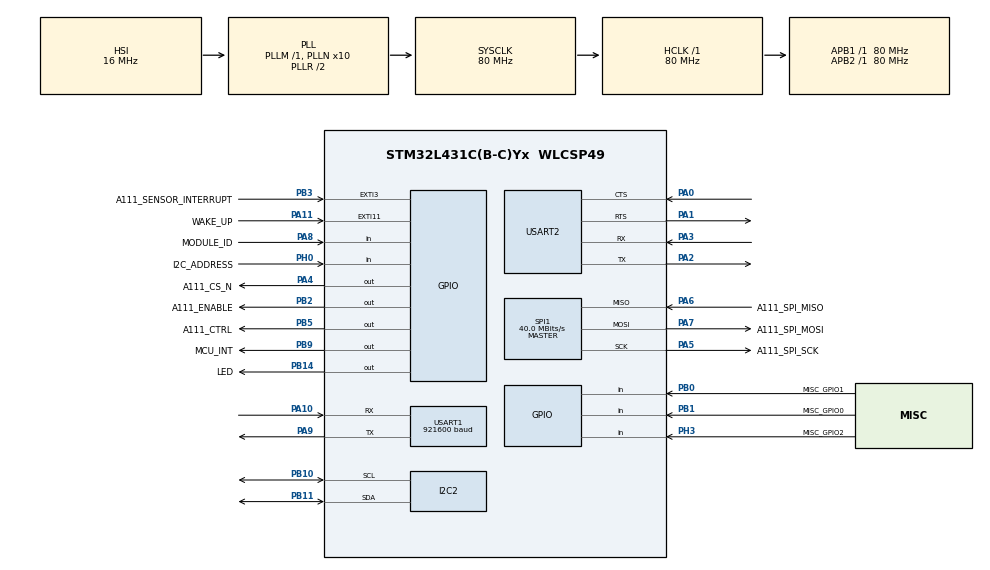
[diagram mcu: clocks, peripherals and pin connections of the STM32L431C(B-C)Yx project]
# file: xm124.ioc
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Dma.Request0=USART2_RX
Dma.Request1=USART2_TX
Dma.Request2=SPI1_RX
Dma.Request3=SPI1_TX
Dma.SPI1_RX.2.Direction=DMA_PERIPH_TO_MEMORY
Dma.SPI1_RX.2.Instance=DMA1_Channel2
Dma.SPI1_RX.2.MemDataAlignment=DMA_MDATAALIGN_HALFWORD
Dma.SPI1_RX.2.MemInc=DMA_MINC_ENABLE
Dma.SPI1_RX.2.Mode=DMA_NORMAL
Dma.SPI1_RX.2.PeriphDataAlignment=DMA_PDATAALIGN_HALFWORD
Dma.SPI1_RX.2.PeriphInc=DMA_PINC_DISABLE
Dma.SPI1_RX.2.Priority=DMA_PRIORITY_LOW
Dma.SPI1_TX.3.Direction=DMA_MEMORY_TO_PERIPH
Dma.SPI1_TX.3.Instance=DMA1_Channel3
Dma.SPI1_TX.3.MemDataAlignment=DMA_MDATAALIGN_HALFWORD
Dma.SPI1_TX.3.MemInc=DMA_MINC_ENABLE
Dma.SPI1_TX.3.Mode=DMA_NORMAL
Dma.SPI1_TX.3.PeriphDataAlignment=DMA_PDATAALIGN_HALFWORD
Dma.SPI1_TX.3.PeriphInc=DMA_PINC_DISABLE
Dma.SPI1_TX.3.Priority=DMA_PRIORITY_LOW
Dma.USART2_RX.0.Direction=DMA_PERIPH_TO_MEMORY
Dma.USART2_RX.0.Instance=DMA1_Channel6
Dma.USART2_RX.0.MemDataAlignment=DMA_MDATAALIGN_BYTE
Dma.USART2_RX.0.MemInc=DMA_MINC_ENABLE
Dma.USART2_RX.0.Mode=DMA_NORMAL
Dma.USART2_RX.0.PeriphDataAlignment=DMA_PDATAALIGN_BYTE
Dma.USART2_RX.0.PeriphInc=DMA_PINC_DISABLE
Dma.USART2_RX.0.Priority=DMA_PRIORITY_LOW
Dma.USART2_TX.1.Direction=DMA_MEMORY_TO_PERIPH
Dma.USART2_TX.1.Instance=DMA1_Channel7
Dma.USART2_TX.1.MemDataAlignment=DMA_MDATAALIGN_BYTE
Dma.USART2_TX.1.MemInc=DMA_MINC_ENABLE
Dma.USART2_TX.1.Mode=DMA_NORMAL
Dma.USART2_TX.1.PeriphDataAlignment=DMA_PDATAALIGN_BYTE
Dma.USART2_TX.1.PeriphInc=DMA_PINC_DISABLE
Dma.USART2_TX.1.Priority=DMA_PRIORITY_LOW
I2C2.Timing=0x10909CEC
Mcu.Family=STM32L4
Mcu.Name=STM32L431C(B-C)Yx
Mcu.Package=WLCSP49
NVIC.DMA1_Channel2_IRQn=true\:0\:0\:false\:false\:true\:false\:true
NVIC.DMA1_Channel3_IRQn=true\:0\:0\:false\:false\:true\:false\:true
NVIC.DMA1_Channel6_IRQn=true\:0\:0\:false\:false\:true\:false\:true
NVIC.DMA1_Channel7_IRQn=true\:0\:0\:false\:false\:true\:false\:true
NVIC.EXTI15_10_IRQn=true\:0\:0\:false\:false\:true\:true\:true
NVIC.EXTI3_IRQn=true\:0\:0\:false\:false\:true\:true\:true
NVIC.I2C2_EV_IRQn=true\:0\:0\:false\:false\:true\:true\:true
NVIC.PriorityGroup=NVIC_PRIORITYGROUP_4
NVIC.RTC_Alarm_IRQn=true\:0\:0\:false\:false\:true\:true\:true
NVIC.RTC_WKUP_IRQn=true\:0\:0\:false\:false\:true\:true\:true
NVIC.USART2_IRQn=true\:0\:0\:false\:false\:true\:true\:true
PA0.Mode=CTS_RTS
PA0.Signal=USART2_CTS
PA1.Mode=CTS_RTS
PA1.Signal=USART2_RTS
PA10.Mode=Asynchronous
PA10.Signal=USART1_RX
PA11.GPIO_Label=WAKE_UP
PA11.GPIO_ModeDefaultEXTI=GPIO_MODE_IT_RISING_FALLING
PA11.GPIO_PuPd=GPIO_PULLDOWN
PA11.Signal=GPXTI11
PA2.Mode=Asynchronous
PA2.Signal=USART2_TX
PA3.Mode=Asynchronous
PA3.Signal=USART2_RX
PA4.GPIO_Label=A111_CS_N
PA4.GPIO_Speed=GPIO_SPEED_FREQ_VERY_HIGH
PA4.Signal=GPIO_Output
PA5.GPIO_Label=A111_SPI_SCK
PA5.Mode=Full_Duplex_Master
PA5.Signal=SPI1_SCK
PA6.GPIO_Label=A111_SPI_MISO
PA6.Mode=Full_Duplex_Master
PA6.Signal=SPI1_MISO
PA7.GPIO_Label=A111_SPI_MOSI
PA7.Mode=Full_Duplex_Master
PA7.Signal=SPI1_MOSI
PA8.GPIO_Label=MODULE_ID
PA8.Signal=GPIO_Input
PA9.Mode=Asynchronous
PA9.Signal=USART1_TX
PB0.GPIO_Label=MISC_GPIO1
PB0.GPIO_PuPd=GPIO_PULLDOWN
PB0.Signal=GPIO_Input
PB1.GPIO_Label=MISC_GPIO0
PB1.GPIO_PuPd=GPIO_PULLDOWN
PB1.Signal=GPIO_Input
PB10.Mode=I2C
PB10.Signal=I2C2_SCL
PB11.Mode=I2C
PB11.Signal=I2C2_SDA
PB14.GPIO_Label=LED
PB14.GPIO_Speed=GPIO_SPEED_FREQ_VERY_HIGH
PB14.Signal=GPIO_Output
PB2.GPIO_Label=A111_ENABLE
PB2.GPIO_Speed=GPIO_SPEED_FREQ_VERY_HIGH
PB2.Signal=GPIO_Output
PB3\ (JTDO-TRACESWO).GPIO_Label=A111_SENSOR_INTERRUPT
PB3\ (JTDO-TRACESWO).GPIO_PuPd=GPIO_PULLDOWN
PB3\ (JTDO-TRACESWO).Signal=GPXTI3
PB5.GPIO_Label=A111_CTRL
PB5.GPIO_Speed=GPIO_SPEED_FREQ_VERY_HIGH
PB5.Signal=GPIO_Output
PB9.GPIO_Label=MCU_INT
PB9.GPIO_Speed=GPIO_SPEED_FREQ_VERY_HIGH
PB9.Signal=GPIO_Output
PH0-OSC_IN\ (PH0).GPIO_Label=I2C_ADDRESS
PH0-OSC_IN\ (PH0).GPIO_PuPd=GPIO_PULLDOWN
PH0-OSC_IN\ (PH0).Signal=GPIO_Input
PH3-BOOT0.GPIO_Label=MISC_GPIO2
PH3-BOOT0.GPIO_PuPd=GPIO_PULLDOWN
PH3-BOOT0.Signal=GPIO_Input
ProjectManager.HeapSize=0x200
ProjectManager.StackSize=0x1400
ProjectManager.TargetToolchain=STM32CubeIDE
RCC.ADCFreq_Value=64000000
RCC.AHBFreq_Value=80000000
RCC.APB1Freq_Value=80000000
RCC.APB1TimFreq_Value=80000000
RCC.APB2Freq_Value=80000000
RCC.APB2TimFreq_Value=80000000
RCC.CortexFreq_Value=80000000
RCC.HCLKFreq_Value=80000000
RCC.HSE_VALUE=8000000
RCC.HSI48_VALUE=48000000
RCC.HSI_VALUE=16000000
RCC.LSE_VALUE=32768
RCC.MSI_VALUE=4000000
RCC.PLLN=10
RCC.PLLSourceVirtual=RCC_PLLSOURCE_HSI
RCC.SYSCLKFreq_VALUE=80000000
RCC.SYSCLKSource=RCC_SYSCLKSOURCE_PLLCLK
RCC.VCOOutputFreq_Value=160000000
RTC.Alarm-Alarm\ A=RTC_ALARM_A
RTC.AsynchPrediv=31
RTC.Format=RTC_FORMAT_BIN
RTC.SynchPrediv=999
SPI1.BaudRatePrescaler=SPI_BAUDRATEPRESCALER_2
SPI1.CalculateBaudRate=40.0 MBits/s
SPI1.DataSize=SPI_DATASIZE_16BIT
SPI1.Direction=SPI_DIRECTION_2LINES
SPI1.Mode=SPI_MODE_MASTER
SPI1.VirtualType=VM_MASTER
USART1.BaudRate=921600
USART1.VirtualMode-Asynchronous=VM_ASYNC
USART2.VirtualMode-Asynchronous=VM_ASYNC
VP_RTC_VS_RTC_Activate.Mode=RTC_Enabled
VP_RTC_VS_RTC_Alarm_A_Intern.Mode=Alarm A
VP_RTC_VS_RTC_Calendar.Mode=RTC_Calendar
VP_RTC_VS_RTC_WakeUp_intern.Mode=WakeUp
board=custom

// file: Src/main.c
/* USER CODE BEGIN Header */
/**
  ******************************************************************************
  * @file           : main.c
  * @brief          : Main program body
  ******************************************************************************
  * @attention
  *
  * <h2><center>&copy; Copyright (c) 2022 STMicroelectronics.
  * All rights reserved.</center></h2>
  *
  * This software component is licensed by ST under BSD 3-Clause license,
  * the "License"; You may not use this file except in compliance with the
  * License. You may obtain a copy of the License at:
  *                        opensource.org/licenses/BSD-3-Clause
  *
  ******************************************************************************
  */
/* USER CODE END Header */
#include "main.h"

/* USER CODE BEGIN Includes */
#include <inttypes.h>
#include <stdbool.h>
#include <stdio.h>

#include "acc_integration.h"

/* USER CODE END Includes */

/* USER CODE BEGIN PD */

typedef enum {
  PIN_STATE_LOW,
  PIN_STATE_HIGH,
  PIN_STATE_FLOATING,
} pin_state_t;

extern int acconeer_main(int argc, char *argv[]);

/* USER CODE END PD */

I2C_HandleTypeDef hi2c2;

RTC_HandleTypeDef hrtc;

SPI_HandleTypeDef hspi1;
DMA_HandleTypeDef hdma_spi1_rx;
DMA_HandleTypeDef hdma_spi1_tx;

UART_HandleTypeDef huart1;
UART_HandleTypeDef huart2;
DMA_HandleTypeDef hdma_usart2_rx;
DMA_HandleTypeDef hdma_usart2_tx;

void SystemClock_Config(void);
static void MX_GPIO_Init(void);
static void MX_DMA_Init(void);
static void MX_USART2_UART_Init(void);
static void MX_SPI1_Init(void);
static void MX_I2C2_Init(void);
static void MX_USART1_UART_Init(void);
static void MX_RTC_Init(void);

/* USER CODE BEGIN 0 */

static pin_state_t GetPinState(GPIO_TypeDef *GPIOx, uint32_t GPIO_Pin)
{
  pin_state_t pin_state = PIN_STATE_FLOATING;
  GPIO_InitTypeDef GPIO_InitStruct = {0};
  GPIO_InitStruct.Pin = GPIO_Pin;
  GPIO_InitStruct.Mode = GPIO_MODE_INPUT;
  GPIO_InitStruct.Pull = GPIO_PULLUP;
  HAL_GPIO_Init(GPIOx, &GPIO_InitStruct);

  // Delay in order to stabilize
  HAL_Delay(1);
  GPIO_PinState Pin_Pullup = HAL_GPIO_ReadPin(GPIOx, GPIO_Pin);

  GPIO_InitStruct.Pull = GPIO_PULLDOWN;
  HAL_GPIO_Init(GPIOx, &GPIO_InitStruct);

  // Delay in order to stabilize
  HAL_Delay(1);
  GPIO_PinState Pin_Pulldown = HAL_GPIO_ReadPin(GPIOx, GPIO_Pin);

  if ((Pin_Pulldown == GPIO_PIN_RESET) && (Pin_Pullup == GPIO_PIN_RESET))
  {
    // Pin is low with both pull-up and and pull-down which means that it is tied to GND
    pin_state = PIN_STATE_LOW;
  }
  else if ((Pin_Pulldown == GPIO_PIN_SET) && (Pin_Pullup == GPIO_PIN_SET))
  {
    // Pin is high with both pull-up and and pull-down which means that it is tied to VIO
    pin_state = PIN_STATE_HIGH;
  }

  // Configure to analog in order to minimize power consumtion
  HAL_GPIO_Init(GPIOx, &GPIO_InitStruct);
  GPIO_InitStruct.Mode = GPIO_MODE_ANALOG;
  GPIO_InitStruct.Pull = GPIO_NOPULL;
  HAL_GPIO_Init(GPIOx, &GPIO_InitStruct);

  return pin_state;
}

/* USER CODE END 0 */

int main(void)
{

  /* MCU Configuration--------------------------------------------------------*/

  /* Reset of all peripherals, Initializes the Flash interface and the Systick. */
  HAL_Init();

  /* Configure the system clock */
  SystemClock_Config();

  /* Initialize all configured peripherals */
  MX_GPIO_Init();
  MX_DMA_Init();
  MX_USART2_UART_Init();
  MX_SPI1_Init();
  MX_I2C2_Init();
  MX_USART1_UART_Init();
  MX_RTC_Init();
  /* USER CODE BEGIN 2 */
//  uint8_t MSG[35] = {'\0'}; // Testing UART
//  uint8_t X = 0; //

  /* USER CODE END 2 */

  /* Infinite loop */
  /* USER CODE BEGIN WHILE */
  while (1)
  {

    pin_state_t id_gpio = GetPinState(MODULE_ID_GPIO_Port, MODULE_ID_Pin);
    printf("MODULE_ID: %s\n", id_gpio == PIN_STATE_LOW ? "LOW" : id_gpio == PIN_STATE_HIGH ? "HIGH" : "FLOAT");
    printf("hello World.............................................................!!!!!!!!!\n");
//    sprintf(MSG, "Hello Dudes! Tracing X = %d\r\n", X); //TEsting URT
//    HAL_UART_Transmit(&huart2, MSG, sizeof(MSG), 100); //Testing UART

    acconeer_main(0, NULL);

    while (1)
      ;
    /* USER CODE END WHILE */

  }
}

void SystemClock_Config(void)
{
  RCC_OscInitTypeDef RCC_OscInitStruct = {0};
  RCC_ClkInitTypeDef RCC_ClkInitStruct = {0};

  /** Configure the main internal regulator output voltage
  */
  if (HAL_PWREx_ControlVoltageScaling(PWR_REGULATOR_VOLTAGE_SCALE1) != HAL_OK)
  {
    Error_Handler();
  }
  /** Initializes the RCC Oscillators according to the specified parameters
  * in the RCC_OscInitTypeDef structure.
  */
  RCC_OscInitStruct.OscillatorType = RCC_OSCILLATORTYPE_HSI|RCC_OSCILLATORTYPE_LSI;
  RCC_OscInitStruct.HSIState = RCC_HSI_ON;
  RCC_OscInitStruct.HSICalibrationValue = RCC_HSICALIBRATION_DEFAULT;
  RCC_OscInitStruct.LSIState = RCC_LSI_ON;
  RCC_OscInitStruct.PLL.PLLState = RCC_PLL_ON;
  RCC_OscInitStruct.PLL.PLLSource = RCC_PLLSOURCE_HSI;
  RCC_OscInitStruct.PLL.PLLM = 1;
  RCC_OscInitStruct.PLL.PLLN = 10;
  RCC_OscInitStruct.PLL.PLLP = RCC_PLLP_DIV7;
  RCC_OscInitStruct.PLL.PLLQ = RCC_PLLQ_DIV2;
  RCC_OscInitStruct.PLL.PLLR = RCC_PLLR_DIV2;
  if (HAL_RCC_OscConfig(&RCC_OscInitStruct) != HAL_OK)
  {
    Error_Handler();
  }
  /** Initializes the CPU, AHB and APB buses clocks
  */
  RCC_ClkInitStruct.ClockType = RCC_CLOCKTYPE_HCLK|RCC_CLOCKTYPE_SYSCLK
                              |RCC_CLOCKTYPE_PCLK1|RCC_CLOCKTYPE_PCLK2;
  RCC_ClkInitStruct.SYSCLKSource = RCC_SYSCLKSOURCE_PLLCLK;
  RCC_ClkInitStruct.AHBCLKDivider = RCC_SYSCLK_DIV1;
  RCC_ClkInitStruct.APB1CLKDivider = RCC_HCLK_DIV1;
  RCC_ClkInitStruct.APB2CLKDivider = RCC_HCLK_DIV1;

  if (HAL_RCC_ClockConfig(&RCC_ClkInitStruct, FLASH_LATENCY_4) != HAL_OK)
  {
    Error_Handler();
  }
}

static void MX_I2C2_Init(void)
{

  hi2c2.Instance = I2C2;
  hi2c2.Init.Timing = 0x10909CEC;
  hi2c2.Init.OwnAddress1 = 0;
  hi2c2.Init.AddressingMode = I2C_ADDRESSINGMODE_7BIT;
  hi2c2.Init.DualAddressMode = I2C_DUALADDRESS_DISABLE;
  hi2c2.Init.OwnAddress2 = 0;
  hi2c2.Init.OwnAddress2Masks = I2C_OA2_NOMASK;
  hi2c2.Init.GeneralCallMode = I2C_GENERALCALL_DISABLE;
  hi2c2.Init.NoStretchMode = I2C_NOSTRETCH_DISABLE;
  if (HAL_I2C_Init(&hi2c2) != HAL_OK)
  {
    Error_Handler();
  }
  /** Configure Analogue filter
  */
  if (HAL_I2CEx_ConfigAnalogFilter(&hi2c2, I2C_ANALOGFILTER_ENABLE) != HAL_OK)
  {
    Error_Handler();
  }
  /** Configure Digital filter
  */
  if (HAL_I2CEx_ConfigDigitalFilter(&hi2c2, 0) != HAL_OK)
  {
    Error_Handler();
  }

}

static void MX_RTC_Init(void)
{

  RTC_TimeTypeDef sTime = {0};
  RTC_DateTypeDef sDate = {0};
  RTC_AlarmTypeDef sAlarm = {0};

  /** Initialize RTC Only
  */
  hrtc.Instance = RTC;
  hrtc.Init.HourFormat = RTC_HOURFORMAT_24;
  hrtc.Init.AsynchPrediv = 31;
  hrtc.Init.SynchPrediv = 999;
  hrtc.Init.OutPut = RTC_OUTPUT_DISABLE;
  hrtc.Init.OutPutRemap = RTC_OUTPUT_REMAP_NONE;
  hrtc.Init.OutPutPolarity = RTC_OUTPUT_POLARITY_HIGH;
  hrtc.Init.OutPutType = RTC_OUTPUT_TYPE_OPENDRAIN;
  if (HAL_RTC_Init(&hrtc) != HAL_OK)
  {
    Error_Handler();
  }

  /** Initialize RTC and set the Time and Date
  */
  sTime.Hours = 0;
  sTime.Minutes = 0;
  sTime.Seconds = 0;
  sTime.DayLightSaving = RTC_DAYLIGHTSAVING_NONE;
  sTime.StoreOperation = RTC_STOREOPERATION_RESET;
  if (HAL_RTC_SetTime(&hrtc, &sTime, RTC_FORMAT_BIN) != HAL_OK)
  {
    Error_Handler();
  }
  sDate.WeekDay = RTC_WEEKDAY_MONDAY;
  sDate.Month = RTC_MONTH_JANUARY;
  sDate.Date = 1;
  sDate.Year = 0;

  if (HAL_RTC_SetDate(&hrtc, &sDate, RTC_FORMAT_BIN) != HAL_OK)
  {
    Error_Handler();
  }
  /** Enable the Alarm A
  */
  sAlarm.AlarmTime.Hours = 0;
  sAlarm.AlarmTime.Minutes = 0;
  sAlarm.AlarmTime.Seconds = 0;
  sAlarm.AlarmTime.SubSeconds = 0;
  sAlarm.AlarmTime.DayLightSaving = RTC_DAYLIGHTSAVING_NONE;
  sAlarm.AlarmTime.StoreOperation = RTC_STOREOPERATION_RESET;
  sAlarm.AlarmMask = RTC_ALARMMASK_NONE;
  sAlarm.AlarmSubSecondMask = RTC_ALARMSUBSECONDMASK_ALL;
  sAlarm.AlarmDateWeekDaySel = RTC_ALARMDATEWEEKDAYSEL_DATE;
  sAlarm.AlarmDateWeekDay = 1;
  sAlarm.Alarm = RTC_ALARM_A;
  if (HAL_RTC_SetAlarm_IT(&hrtc, &sAlarm, RTC_FORMAT_BIN) != HAL_OK)
  {
    Error_Handler();
  }

}

static void MX_SPI1_Init(void)
{

  /* SPI1 parameter configuration*/
  hspi1.Instance = SPI1;
  hspi1.Init.Mode = SPI_MODE_MASTER;
  hspi1.Init.Direction = SPI_DIRECTION_2LINES;
  hspi1.Init.DataSize = SPI_DATASIZE_16BIT;
  hspi1.Init.CLKPolarity = SPI_POLARITY_LOW;
  hspi1.Init.CLKPhase = SPI_PHASE_1EDGE;
  hspi1.Init.NSS = SPI_NSS_SOFT;
  hspi1.Init.BaudRatePrescaler = SPI_BAUDRATEPRESCALER_2;
  hspi1.Init.FirstBit = SPI_FIRSTBIT_MSB;
  hspi1.Init.TIMode = SPI_TIMODE_DISABLE;
  hspi1.Init.CRCCalculation = SPI_CRCCALCULATION_DISABLE;
  hspi1.Init.CRCPolynomial = 7;
  hspi1.Init.CRCLength = SPI_CRC_LENGTH_DATASIZE;
  hspi1.Init.NSSPMode = SPI_NSS_PULSE_ENABLE;
  if (HAL_SPI_Init(&hspi1) != HAL_OK)
  {
    Error_Handler();
  }

}

static void MX_USART1_UART_Init(void)
{

  huart1.Instance = USART1;
  huart1.Init.BaudRate = 921600;
  huart1.Init.WordLength = UART_WORDLENGTH_8B;
  huart1.Init.StopBits = UART_STOPBITS_1;
  huart1.Init.Parity = UART_PARITY_NONE;
  huart1.Init.Mode = UART_MODE_TX_RX;
  huart1.Init.HwFlowCtl = UART_HWCONTROL_NONE;
  huart1.Init.OverSampling = UART_OVERSAMPLING_16;
  huart1.Init.OneBitSampling = UART_ONE_BIT_SAMPLE_DISABLE;
  huart1.AdvancedInit.AdvFeatureInit = UART_ADVFEATURE_NO_INIT;
  if (HAL_UART_Init(&huart1) != HAL_OK)
  {
    Error_Handler();
  }

}

static void MX_USART2_UART_Init(void)
{

  huart2.Instance = USART2;
  huart2.Init.BaudRate = 115200;
  huart2.Init.WordLength = UART_WORDLENGTH_8B;
  huart2.Init.StopBits = UART_STOPBITS_1;
  huart2.Init.Parity = UART_PARITY_NONE;
  huart2.Init.Mode = UART_MODE_TX_RX;
  huart2.Init.HwFlowCtl = UART_HWCONTROL_RTS_CTS;
  huart2.Init.OverSampling = UART_OVERSAMPLING_16;
  huart2.Init.OneBitSampling = UART_ONE_BIT_SAMPLE_DISABLE;
  huart2.AdvancedInit.AdvFeatureInit = UART_ADVFEATURE_NO_INIT;
  if (HAL_UART_Init(&huart2) != HAL_OK)
  {
    Error_Handler();
  }

}

static void MX_DMA_Init(void)
{

  /* DMA controller clock enable */
  __HAL_RCC_DMA1_CLK_ENABLE();

  /* DMA interrupt init */
  /* DMA1_Channel2_IRQn interrupt configuration */
  HAL_NVIC_SetPriority(DMA1_Channel2_IRQn, 0, 0);
  HAL_NVIC_EnableIRQ(DMA1_Channel2_IRQn);
  /* DMA1_Channel3_IRQn interrupt configuration */
  HAL_NVIC_SetPriority(DMA1_Channel3_IRQn, 0, 0);
  HAL_NVIC_EnableIRQ(DMA1_Channel3_IRQn);
  /* DMA1_Channel6_IRQn interrupt configuration */
  HAL_NVIC_SetPriority(DMA1_Channel6_IRQn, 0, 0);
  HAL_NVIC_EnableIRQ(DMA1_Channel6_IRQn);
  /* DMA1_Channel7_IRQn interrupt configuration */
  HAL_NVIC_SetPriority(DMA1_Channel7_IRQn, 0, 0);
  HAL_NVIC_EnableIRQ(DMA1_Channel7_IRQn);

}

static void MX_GPIO_Init(void)
{
  GPIO_InitTypeDef GPIO_InitStruct = {0};

  /* GPIO Ports Clock Enable */
  __HAL_RCC_GPIOB_CLK_ENABLE();
  __HAL_RCC_GPIOH_CLK_ENABLE();
  __HAL_RCC_GPIOA_CLK_ENABLE();

  /*Configure GPIO pin Output Level */
  HAL_GPIO_WritePin(GPIOB, A111_CTRL_Pin|MCU_INT_Pin|LED_Pin|A111_ENABLE_Pin, GPIO_PIN_RESET);

  /*Configure GPIO pin Output Level */
  HAL_GPIO_WritePin(A111_CS_N_GPIO_Port, A111_CS_N_Pin, GPIO_PIN_RESET);

  /*Configure GPIO pin : A111_SENSOR_INTERRUPT_Pin */
  GPIO_InitStruct.Pin = A111_SENSOR_INTERRUPT_Pin;
  GPIO_InitStruct.Mode = GPIO_MODE_IT_RISING;
  GPIO_InitStruct.Pull = GPIO_PULLDOWN;
  HAL_GPIO_Init(A111_SENSOR_INTERRUPT_GPIO_Port, &GPIO_InitStruct);

  /*Configure GPIO pins : MISC_GPIO2_Pin I2C_ADDRESS_Pin */
  GPIO_InitStruct.Pin = MISC_GPIO2_Pin|I2C_ADDRESS_Pin;
  GPIO_InitStruct.Mode = GPIO_MODE_INPUT;
  GPIO_InitStruct.Pull = GPIO_PULLDOWN;
  HAL_GPIO_Init(GPIOH, &GPIO_InitStruct);

  /*Configure GPIO pins : A111_CTRL_Pin MCU_INT_Pin LED_Pin A111_ENABLE_Pin */
  GPIO_InitStruct.Pin = A111_CTRL_Pin|MCU_INT_Pin|LED_Pin|A111_ENABLE_Pin;
  GPIO_InitStruct.Mode = GPIO_MODE_OUTPUT_PP;
  GPIO_InitStruct.Pull = GPIO_NOPULL;
  GPIO_InitStruct.Speed = GPIO_SPEED_FREQ_VERY_HIGH;
  HAL_GPIO_Init(GPIOB, &GPIO_InitStruct);

  /*Configure GPIO pin : WAKE_UP_Pin */
  GPIO_InitStruct.Pin = WAKE_UP_Pin;
  GPIO_InitStruct.Mode = GPIO_MODE_IT_RISING_FALLING;
  GPIO_InitStruct.Pull = GPIO_PULLDOWN;
  HAL_GPIO_Init(WAKE_UP_GPIO_Port, &GPIO_InitStruct);

  /*Configure GPIO pin : MODULE_ID_Pin */
  GPIO_InitStruct.Pin = MODULE_ID_Pin;
  GPIO_InitStruct.Mode = GPIO_MODE_INPUT;
  GPIO_InitStruct.Pull = GPIO_NOPULL;
  HAL_GPIO_Init(MODULE_ID_GPIO_Port, &GPIO_InitStruct);

  /*Configure GPIO pins : MISC_GPIO0_Pin MISC_GPIO1_Pin */
  GPIO_InitStruct.Pin = MISC_GPIO0_Pin|MISC_GPIO1_Pin;
  GPIO_InitStruct.Mode = GPIO_MODE_INPUT;
  GPIO_InitStruct.Pull = GPIO_PULLDOWN;
  HAL_GPIO_Init(GPIOB, &GPIO_InitStruct);

  /*Configure GPIO pin : A111_CS_N_Pin */
  GPIO_InitStruct.Pin = A111_CS_N_Pin;
  GPIO_InitStruct.Mode = GPIO_MODE_OUTPUT_PP;
  GPIO_InitStruct.Pull = GPIO_NOPULL;
  GPIO_InitStruct.Speed = GPIO_SPEED_FREQ_VERY_HIGH;
  HAL_GPIO_Init(A111_CS_N_GPIO_Port, &GPIO_InitStruct);

  /* EXTI interrupt init*/
  HAL_NVIC_SetPriority(EXTI3_IRQn, 0, 0);
  HAL_NVIC_EnableIRQ(EXTI3_IRQn);

  HAL_NVIC_SetPriority(EXTI15_10_IRQn, 0, 0);
  HAL_NVIC_EnableIRQ(EXTI15_10_IRQn);

}

void Error_Handler(void)
{
  __disable_irq();
  while (1)
  {
  }
}

/************************ (C) COPYRIGHT STMicroelectronics *****END OF FILE****/
